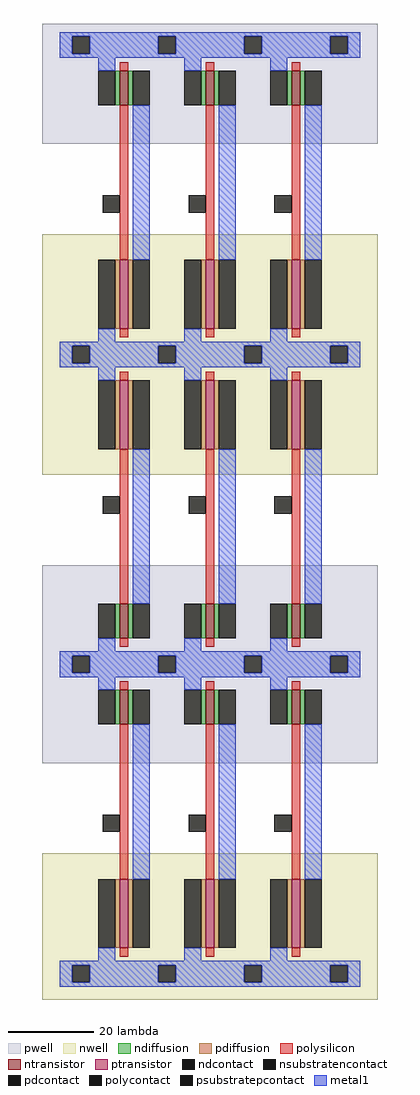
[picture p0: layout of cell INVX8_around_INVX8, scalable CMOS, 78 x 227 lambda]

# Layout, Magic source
magic
tech scmos
use INVX8  INVX8_3
transform 1 0 -16 0 -1 77
box -28 -58 10 25
use INVX8  INVX8_1
transform 1 0 4 0 -1 77
box -28 -58 10 25
use INVX8  INVX8_2
transform 1 0 24 0 -1 77
box -28 -58 10 25
use INVX8  INVX8_5
transform 1 0 -16 0 1 39
box -28 -58 10 25
use INVX8  INVX8_0
transform 1 0 4 0 1 39
box -28 -58 10 25
use INVX8  INVX8_4
transform 1 0 24 0 1 39
box -28 -58 10 25
use INVX8  INVX8_6
transform 1 0 -16 0 -1 -67
box -28 -58 10 25
use INVX8  INVX8_7
transform 1 0 4 0 -1 -67
box -28 -58 10 25
use INVX8  INVX8_8
transform 1 0 24 0 -1 -67
box -28 -58 10 25
<< end >>

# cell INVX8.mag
magic
tech scmos
<< nwell >>
rect -28 -9 10 25
<< pwell >>
rect -28 -58 10 -30
<< ntransistor >>
rect -10 -47 -8 -39
<< ptransistor >>
rect -10 -3 -8 13
<< ndiffusion >>
rect -11 -47 -10 -39
rect -8 -47 -7 -39
<< pdiffusion >>
rect -11 -3 -10 13
rect -8 -3 -7 13
<< ndcontact >>
rect -15 -47 -11 -39
rect -7 -47 -3 -39
<< pdcontact >>
rect -15 -3 -11 13
rect -7 -3 -3 13
<< psubstratepcontact >>
rect -21 -55 -17 -51
rect -1 -55 3 -51
<< nsubstratencontact >>
rect -21 17 -17 21
rect -1 17 3 21
<< polysilicon >>
rect -10 13 -8 15
rect -10 -39 -8 -3
rect -10 -49 -8 -47
<< polycontact >>
rect -14 -18 -10 -14
<< metal1 >>
rect -24 21 6 22
rect -24 17 -21 21
rect -17 17 -1 21
rect 3 17 6 21
rect -24 16 6 17
rect -15 13 -11 16
rect -7 -39 -3 -3
rect -15 -50 -11 -47
rect -24 -51 6 -50
rect -24 -55 -21 -51
rect -17 -55 -1 -51
rect 3 -55 6 -51
rect -24 -56 6 -55
<< labels >>
rlabel nsubstratencontact -19 19 -19 19 1 +VDD
rlabel nsubstratencontact 1 19 1 19 1 +VDD
rlabel psubstratepcontact -19 -53 -19 -53 1 GND
rlabel psubstratepcontact 1 -53 1 -53 1 GND
rlabel polycontact -12 -16 -12 -16 1 A
rlabel metal1 -5 -16 -5 -16 1 Z
<< end >>
